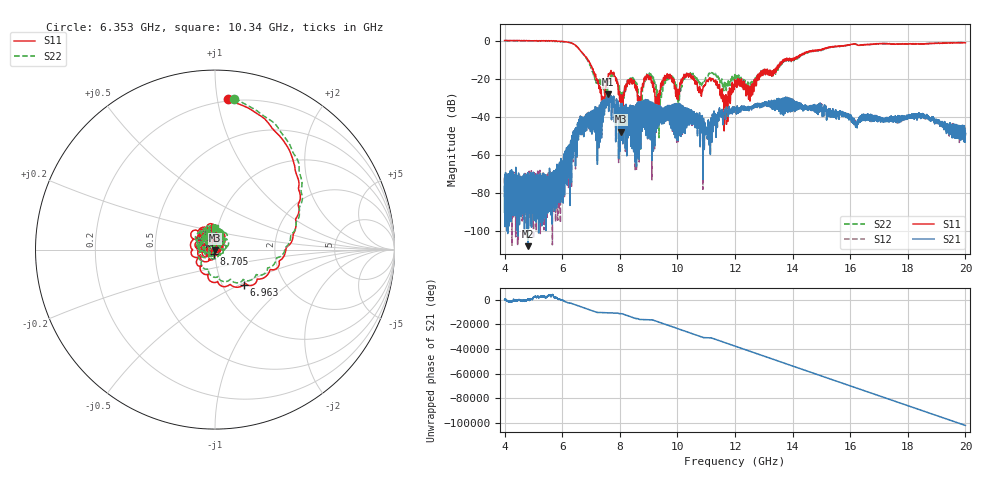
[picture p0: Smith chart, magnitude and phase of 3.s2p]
[Version] 2.0
! Rohde & Schwarz Vector Network Analyzer
! Rohde-Schwarz,ZNL20-2Port,1323001220200009,1.71.1.10-23.02.1.238
! Port Assignments:
! Nominal Port -> Actual Test Port
!  1 -> 1
!  2 -> 2
! Created: GMT+2 2025-01-16 20:21:15
# Hz S RI R 50
[Number of Ports] 2
[Two-Port Data Order] 21_12
! freq[Hz]  S11[Re]  S11[Im]  S21[Re]  S21[Im]  S12[Re]  S12[Im]  S22[Re]  S22[Im]
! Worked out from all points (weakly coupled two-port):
!   16001 points, 4 GHz to 20 GHz, reference 50 ohm
!   highest |S21| = -28.34 dB at 7.588 GHz (marker M1); lowest = -108.1 dB at 4.809 GHz (marker M2)
!   lowest |S11| = -47.8 dB at 8.051 GHz (marker M3), VSWR 1.01, Z = 50 - j0.405 ohm
!   |S11| at or under -10 dB: 6.889 GHz to 13.7 GHz (6.812 GHz wide, 66.2 % of centre); 13.71498 GHz to 13.74348 GHz (28.5 MHz wide, 0.208 % of centre); 13.94327 GHz to 13.9674 GHz (24.12 MHz wide, 0.173 % of centre) (the widest 3 of 9)
!   |S22| runs from -57.0 to 0.0 dB; largest |S21 - S12| = 0.0024
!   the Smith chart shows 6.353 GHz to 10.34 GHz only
!   S11 on the Smith chart (normalised r, x): 6.353 GHz: 0.19, +1.07; 6.963 GHz: 1.27, -0.53; 8.705 GHz: 0.98, -0.05; 10.34 GHz: 0.96, +0.24
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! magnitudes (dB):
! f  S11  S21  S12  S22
! 4 GHz  0.0  -76.3  -72.2  -0.2
! 4.809 GHz  -0.2  -108.1  -72.7  -0.2
! 5.77 GHz  -0.2  -78.4  -95.3  -0.4
! 6.353 GHz  -1.5  -51.9  -52.0  -1.4
! 6.667 GHz  -5.9  -42.3  -41.7  -6.0
! 6.963 GHz  -11.9  -37.9  -38.1  -12.7
! 7.402 GHz  -29.8  -34.1  -34.1  -22.2
! 7.588 GHz  -19.5  -28.3  -28.4  -23.2
! 8.051 GHz  -47.8  -49.2  -49.6  -32.0
! 8.427 GHz  -22.9  -41.5  -41.4  -21.7
! 8.705 GHz  -31.8  -33.3  -33.1  -40.4
! 9.001 GHz  -20.2  -33.2  -33.2  -18.9
! 9.334 GHz  -28.4  -34.2  -34.2  -30.8
! 9.583 GHz  -20.6  -38.5  -38.5  -22.1
! 10.05 GHz  -25.7  -33.1  -33.2  -27.7
! 10.34 GHz  -18.3  -36.0  -35.9  -18.4
! 11.07 GHz  -21.4  -41.8  -42.1  -18.2
! 11.68 GHz  -28.6  -40.2  -39.9  -22.6
! 12 GHz  -20.8  -36.3  -36.5  -18.4
! 14.67 GHz  -5.5  -34.6  -34.4  -5.8
! 17.33 GHz  -1.8  -41.1  -40.8  -1.8
! 20 GHz  -1.2  -48.9  -48.9  -1.1
